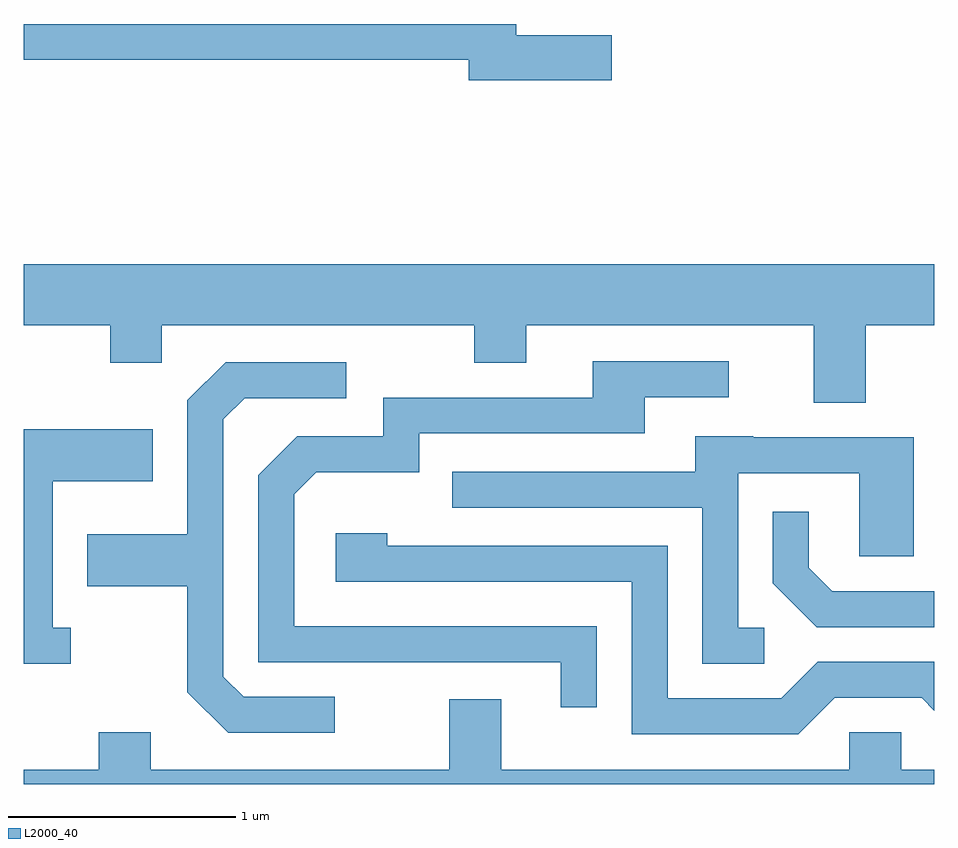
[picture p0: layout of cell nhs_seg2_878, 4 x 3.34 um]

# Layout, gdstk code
import gdstk
lib = gdstk.Library(unit=1e-6, precision=1e-09)
def P(c, l, *ps):  # polygons
    for p in ps: c.add(gdstk.Polygon(p, *l))
L2000_40 = (2000, 40)

nhs_seg2_878 = lib.new_cell('nhs_seg2_878')
P(nhs_seg2_878, L2000_40, [(212.194,1105.089),(211.774,1105.089),(211.774,1105.139),(209.611,1105.139),(209.611,1104.981),(211.566,1104.981),(211.566,1104.891),(212.194,1104.891)],
  [(213.309,1103.816),(213.611,1103.816),(213.611,1104.084),(209.611,1104.084),(209.611,1103.816),(209.991,1103.816),(209.991,1103.651),(210.219,1103.651),(210.219,1103.816),(211.591,1103.816),(211.591,1103.651),(211.819,1103.651),(211.819,1103.816),(213.081,1103.816),(213.081,1103.476),(213.309,1103.476)],
  [(212.129,1102.494),(210.799,1102.494),(210.799,1103.074),(210.897,1103.171),(211.349,1103.171),(211.349,1103.341),(212.339,1103.341),(212.339,1103.501),(212.708,1103.501),(212.708,1103.659),(212.111,1103.659),(212.111,1103.499),(211.191,1103.499),(211.191,1103.329),(210.814,1103.329),(210.641,1103.157),(210.641,1102.336),(211.971,1102.336),(211.971,1102.138),(212.129,1102.138)],
  [(210.978,1102.184),(210.577,1102.184),(210.489,1102.272),(210.489,1103.404),(210.582,1103.496),(211.028,1103.496),(211.028,1103.654),(210.499,1103.654),(210.331,1103.487),(210.331,1102.899),(209.891,1102.899),(209.891,1102.671),(210.331,1102.671),(210.331,1102.204),(210.509,1102.026),(210.978,1102.026)],
  [(209.818,1102.489),(209.739,1102.489),(209.739,1103.131),(210.179,1103.131),(210.179,1103.359),(209.611,1103.359),(209.611,1102.331),(209.818,1102.331)],
  [(212.863,1102.489),(212.749,1102.489),(212.749,1103.166),(213.281,1103.166),(213.281,1102.801),(213.519,1102.801),(213.519,1103.324),(212.815,1103.324),(212.815,1103.329),(212.561,1103.329),(212.561,1103.174),(211.493,1103.174),(211.493,1103.016),(212.591,1103.016),(212.591,1102.331),(212.863,1102.331)],
  [(213.611,1102.649),(213.162,1102.649),(213.059,1102.752),(213.059,1102.998),(212.901,1102.998),(212.901,1102.684),(213.094,1102.491),(213.611,1102.491)],
  [(213.172,1102.181),(213.554,1102.181),(213.611,1102.124),(213.611,1102.339),(213.099,1102.339),(212.939,1102.179),(212.439,1102.179),(212.439,1102.849),(211.209,1102.849),(211.209,1102.904),(210.981,1102.904),(210.981,1102.691),(212.281,1102.691),(212.281,1102.021),(213.012,1102.021)],
  [(213.611,1101.864),(213.464,1101.864),(213.464,1102.029),(213.236,1102.029),(213.236,1101.864),(211.709,1101.864),(211.709,1102.174),(211.481,1102.174),(211.481,1101.864),(210.169,1101.864),(210.169,1102.029),(209.941,1102.029),(209.941,1101.864),(209.611,1101.864),(209.611,1101.802),(213.611,1101.802)])

lib.write_gds('nhs_seg2_878.gds')
